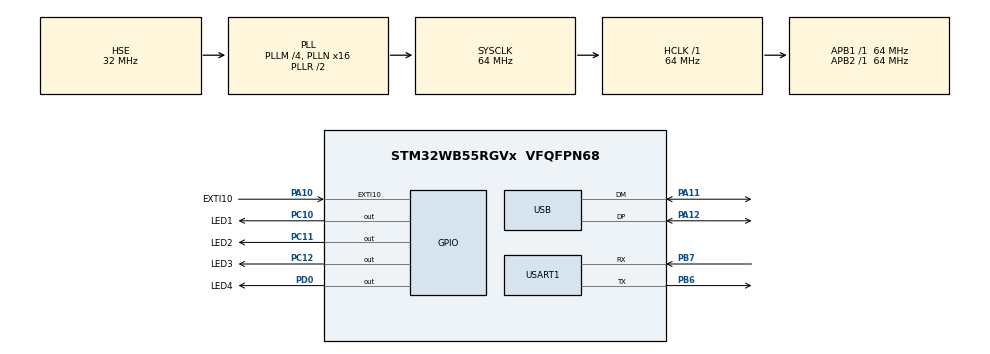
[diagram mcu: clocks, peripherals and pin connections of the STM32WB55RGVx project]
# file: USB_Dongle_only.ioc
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Dma.Request0=USART1_TX
Dma.USART1_TX.0.Direction=DMA_MEMORY_TO_PERIPH
Dma.USART1_TX.0.EventEnable=DISABLE
Dma.USART1_TX.0.Instance=DMA1_Channel1
Dma.USART1_TX.0.MemDataAlignment=DMA_MDATAALIGN_BYTE
Dma.USART1_TX.0.MemInc=DMA_MINC_ENABLE
Dma.USART1_TX.0.Mode=DMA_NORMAL
Dma.USART1_TX.0.PeriphDataAlignment=DMA_PDATAALIGN_BYTE
Dma.USART1_TX.0.PeriphInc=DMA_PINC_DISABLE
Dma.USART1_TX.0.Polarity=HAL_DMAMUX_REQ_GEN_RISING
Dma.USART1_TX.0.Priority=DMA_PRIORITY_LOW
Dma.USART1_TX.0.RequestNumber=1
Dma.USART1_TX.0.SignalID=NONE
Dma.USART1_TX.0.SyncEnable=DISABLE
Dma.USART1_TX.0.SyncPolarity=HAL_DMAMUX_SYNC_NO_EVENT
Dma.USART1_TX.0.SyncRequestNumber=1
Dma.USART1_TX.0.SyncSignalID=NONE
Mcu.Family=STM32WB
Mcu.Name=STM32WB55RGVx
Mcu.Package=VFQFPN68
NVIC.DMA1_Channel1_IRQn=true\:0\:0\:false\:false\:true\:false\:true\:true
NVIC.HSEM_IRQn=true\:0\:0\:false\:false\:true\:false\:true\:true
NVIC.IPCC_C1_RX_IRQn=true\:0\:0\:false\:false\:true\:true\:true\:true
NVIC.IPCC_C1_TX_IRQn=true\:0\:0\:false\:false\:true\:true\:true\:true
NVIC.PriorityGroup=NVIC_PRIORITYGROUP_4
NVIC.USB_LP_IRQn=true\:0\:0\:false\:false\:true\:false\:true\:true
OSC_IN.Mode=HSE-External-Oscillator
OSC_IN.Signal=RCC_OSC_IN
OSC_OUT.Mode=HSE-External-Oscillator
OSC_OUT.Signal=RCC_OSC_OUT
PA10.GPIO_Label=EXTI10
PA10.Signal=GPXTI10
PA11.Mode=Device
PA11.Signal=USB_DM
PA12.Mode=Device
PA12.Signal=USB_DP
PB6.Mode=Asynchronous
PB6.Signal=USART1_TX
PB7.Mode=Asynchronous
PB7.Signal=USART1_RX
PC10.GPIO_Label=LED1
PC10.Signal=GPIO_Output
PC11.GPIO_Label=LED2
PC11.Signal=GPIO_Output
PC12.GPIO_Label=LED3
PC12.Signal=GPIO_Output
PC14-OSC32_IN.Mode=LSE-External-Oscillator
PC14-OSC32_IN.Signal=RCC_OSC32_IN
PC15-OSC32_OUT.Mode=LSE-External-Oscillator
PC15-OSC32_OUT.Signal=RCC_OSC32_OUT
PD0.GPIO_Label=LED4
PD0.Signal=GPIO_Output
ProjectManager.HeapSize=0x200
ProjectManager.StackSize=0x400
ProjectManager.TargetToolchain=STM32CubeIDE
RCC.ADCFreq_Value=32000000
RCC.AHB2CLKDivider=RCC_SYSCLK_DIV2
RCC.AHBFreq_Value=64000000
RCC.APB1Freq_Value=64000000
RCC.APB1TimFreq_Value=64000000
RCC.APB2Freq_Value=64000000
RCC.APB2TimFreq_Value=64000000
RCC.APB3Freq_Value=16000000
RCC.CK48CLockSelection=RCC_USBCLKSOURCE_HSI48
RCC.CortexFreq_Value=64000000
RCC.HCLKFreq_Value=64000000
RCC.HSE_VALUE=32000000
RCC.HSI48_VALUE=48000000
RCC.HSI_VALUE=16000000
RCC.PLLM=RCC_PLLM_DIV4
RCC.PLLN=16
RCC.PLLSourceVirtual=RCC_PLLSOURCE_HSE
RCC.RCC_MCO1Source=RCC_MCO1SOURCE_HSE
RCC.RCC_MCODiv=RCC_MCODIV_2
RCC.SYSCLKFreq_VALUE=64000000
RCC.SYSCLKSource=RCC_SYSCLKSOURCE_PLLCLK
RCC.USBFreq_Value=48000000
RCC.VCOOutputFreq_Value=128000000
RF1.Mode=RF1_Activate
RF1.Signal=RF_RF1
USART1.VirtualMode-Asynchronous=VM_ASYNC
USB_DEVICE.CLASS_NAME_FS=CDC
USB_DEVICE.VirtualMode=Cdc
USB_DEVICE.VirtualModeFS=Cdc_FS
VP_AES1_VS_AES.Mode=AES_Activate
VP_HSEM_VS_HSEM.Mode=HSEM_Activate
VP_IPCC_VS_IPCC.Mode=IPCC_Activate
VP_RNG_VS_RNG.Mode=RNG_Activate
VP_RTC_VS_RTC_Activate.Mode=RTC_Enabled
VP_RTC_VS_RTC_WakeUp_intern.Mode=WakeUp
VP_USB_DEVICE_VS_USB_DEVICE_CDC_FS.Mode=CDC_FS
board=custom

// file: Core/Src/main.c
/* USER CODE BEGIN Header */
/**
  ******************************************************************************
  * @file           : main.c
  * @brief          : Main program body
  ******************************************************************************
  * @attention
  *
  * Copyright (c) 2023 STMicroelectronics.
  * All rights reserved.
  *
  * This software is licensed under terms that can be found in the LICENSE file
  * in the root directory of this software component.
  * If no LICENSE file comes with this software, it is provided AS-IS.
  *
  ******************************************************************************
  */
/* USER CODE END Header */
#include "main.h"
#include "usb_device.h"

/* USER CODE BEGIN Includes */
#include "usbd_cdc_if.h"

#include <stdlib.h>
#include <stdio.h>
#include <inttypes.h>
//#include <stdint.h>
//#include <string.h>
#include "fips202.h"
#include "params.h"
#include "sign.h"
#include "poly.h"
#include "polyvec.h"
#include "packing.h"

#include "usb_debug.h"

#include "elapsed_time.h"

#include "symmetric.h"

#include "const_y.h"

/* USER CODE END Includes */

/* USER CODE BEGIN PD */
#define MLEN 59
#define NTESTS 50
//#define KEYGEN_TEST
#define SIGN_VERIFY_TEST
//#define FULL_TEST
//#define AES_TEST
//#define STATIC_KEYS
//#define KEYGEN
#if defined(STATIC_KEYS)
#include "dilithium_keys.h"
#endif
/* USER CODE END PD */

//CRYP_HandleTypeDef hcryp1;
#ifdef HARDWARE_AES
__ALIGN_BEGIN static const uint32_t pKeyAES1[4] __ALIGN_END = {
                            0x00000000,0x00000000,0x00000000,0x00000000};
#endif

IPCC_HandleTypeDef hipcc;

RNG_HandleTypeDef hrng;

RTC_HandleTypeDef hrtc;

UART_HandleTypeDef huart1;
DMA_HandleTypeDef hdma_usart1_tx;

void SystemClock_Config(void);
void PeriphCommonClock_Config(void);
static void MX_GPIO_Init(void);
static void MX_DMA_Init(void);
static void MX_IPCC_Init(void);
static void MX_RF_Init(void);
static void MX_USART1_UART_Init(void);
static void MX_RTC_Init(void);
static void MX_RNG_Init(void);
#ifdef HARDWARE_AES
static void MX_AES1_Init(void);
#endif
/* USER CODE BEGIN PFP */
static int sign_verify_test_assert(int ret, int mlen, uint8_t ref_m[MLEN], uint8_t new_m[MLEN]);

#if defined(__ICCARM__)
/* New definition from EWARM V9, compatible with EWARM8 */
int iar_fputc(int ch);
#define PUTCHAR_PROTOTYPE int iar_fputc(int ch)
#define GETCHAR_PROTOTYPE int fgetc(FILE *f)
#elif defined (__CC_ARM) || defined(__ARMCC_VERSION)
/* ARM Compiler 5/6 */
#define PUTCHAR_PROTOTYPE int fputc(int ch, FILE *f)
#define GETCHAR_PROTOTYPE int fgetc(FILE *f)
#elif defined(__GNUC__)
int __io_putchar(int ch);
#define PUTCHAR_PROTOTYPE int __io_putchar(int ch)
int __io_getchar(void);
#define GETCHAR_PROTOTYPE int __io_getchar(void)
#endif /* __ICCARM__ */
/* USER CODE END PFP */

int main(void)
{

  /* MCU Configuration--------------------------------------------------------*/

  /* Reset of all peripherals, Initializes the Flash interface and the Systick. */
  HAL_Init();

  /* Configure the system clock */
  SystemClock_Config();

/* Configure the peripherals common clocks */
  PeriphCommonClock_Config();

  /* IPCC initialisation */
  MX_IPCC_Init();

  /* Initialize all configured peripherals */
  MX_GPIO_Init();
  MX_DMA_Init();
  MX_RF_Init();
  MX_USART1_UART_Init();
  MX_RTC_Init();
  MX_USB_Device_Init();
  MX_RNG_Init();
#ifdef HARDWARE_AES
  MX_AES1_Init();
#endif
  /* USER CODE BEGIN 2 */
  HAL_GPIO_TogglePin(LED4_GPIO_Port, LED4_Pin); // BLUE LED
  HAL_Delay(3000);
  USB_DEBUG_MSG("Program Compilation Date: %s %s\n", __DATE__, __TIME__);
  USB_DEBUG_MSG("Dilithium Signature Test Start\n");

  HAL_GPIO_TogglePin(LED4_GPIO_Port, LED4_Pin);
  HAL_GPIO_TogglePin(LED2_GPIO_Port, LED2_Pin);

#ifdef KEYGEN_TEST

  uint8_t pk[CRYPTO_PUBLICKEYBYTES];
  uint8_t sk[CRYPTO_SECRETKEYBYTES];

  elapsed_time_init();

#define TIME_STAMP_INDEX 0

  for (int i = 0; i < NTESTS; ++i) {
	  //
	  USB_DEBUG_MSG("Test %d\r\n", i);

	  elapsed_time_start(TIME_STAMP_INDEX);

	  crypto_sign_keypair(&hrng, pk, sk);

	  elapsed_time_stop(TIME_STAMP_INDEX);

	  USB_DEBUG_MSG("Cycles for keys generation max = %ld\r\n", elapsed_time_max(TIME_STAMP_INDEX));
	  USB_DEBUG_MSG("Cycles for keys generation min = %ld\r\n", elapsed_time_min(TIME_STAMP_INDEX));

	  elapsed_time_clr(TIME_STAMP_INDEX);
  }
  USB_DEBUG_MSG("CRYPTO_PUBLICKEYBYTES = %d\r\n", CRYPTO_PUBLICKEYBYTES);
  USB_DEBUG_MSG("CRYPTO_SECRETKEYBYTES = %d\r\n", CRYPTO_SECRETKEYBYTES);
  USB_DEBUG_MSG("CRYPTO_BYTES = %d\r\n", CRYPTO_BYTES);

#elif defined SIGN_VERIFY_TEST

  unsigned int i;
  int ret;
  size_t mlen, smlen;
  uint8_t m[MLEN] = { 0x55 };
  uint8_t sm[MLEN + CRYPTO_BYTES];
  uint8_t m2[MLEN + CRYPTO_BYTES];
  uint8_t test_ok = 1;
  uint8_t pk[CRYPTO_PUBLICKEYBYTES];
  uint8_t sk[CRYPTO_SECRETKEYBYTES];

#define TIME_STAMP_SIGN 0
#define TIME_STAMP_VERF 1
#define TIME_STAMP_INDEX 2

  elapsed_time_init();

  for (i = 0; i < NTESTS; ++i) {
	  //
	  USB_DEBUG_MSG("Test %d\r\n", i);

	  elapsed_time_start(TIME_STAMP_INDEX);

	  crypto_sign_keypair(&hrng, pk, sk);

	  elapsed_time_stop(TIME_STAMP_INDEX);

	  elapsed_time_start(TIME_STAMP_SIGN );

	  int nonce = crypto_sign(&hrng, sm, &smlen, m, MLEN, sk);

	  elapsed_time_stop(TIME_STAMP_SIGN );

	  USB_DEBUG_MSG("nonce = %d\r\n", nonce);
//#define CONST_Y_NUM 15
	  if(nonce <= CONST_Y_NUM)
	  {
		  elapsed_time_start(TIME_STAMP_VERF);

		  ret = crypto_sign_open(m2, &mlen, sm, smlen, pk);

		  elapsed_time_stop(TIME_STAMP_VERF);
	  }

	  if(sign_verify_test_assert(ret, mlen, m, m2)){
		  test_ok = 0;
		  break;
	  }

	  USB_DEBUG_MSG("Cycles for keys generation max = %ld\r\n", elapsed_time_max(TIME_STAMP_INDEX));
	  USB_DEBUG_MSG("Cycles for keys generation min = %ld\r\n", elapsed_time_min(TIME_STAMP_INDEX));
	  USB_DEBUG_MSG("Cycles for full signature generation max = %ld\r\n", elapsed_time_max(TIME_STAMP_SIGN));
	  USB_DEBUG_MSG("Cycles for full signature generation min = %ld\r\n", elapsed_time_min(TIME_STAMP_SIGN));
	  USB_DEBUG_MSG("Cycles for full signature verification max = %ld\r\n", elapsed_time_max(TIME_STAMP_VERF));
	  USB_DEBUG_MSG("Cycles for full signature verification min = %ld\r\n", elapsed_time_min(TIME_STAMP_VERF));

	  elapsed_time_clr(TIME_STAMP_INDEX);
	  elapsed_time_clr(TIME_STAMP_SIGN);
	  elapsed_time_clr(TIME_STAMP_VERF);

  }

  if (test_ok){
	  HAL_GPIO_TogglePin(LED3_GPIO_Port, LED3_Pin); // GREEN LED
	  USB_DEBUG_MSG("New Dilithium - OK\r\n");
  }
  else {
	  USB_DEBUG_MSG("New Dilithium - err_code = %d\r\n", ret);
  }

  USB_DEBUG_MSG("CRYPTO_PUBLICKEYBYTES = %d\r\n", CRYPTO_PUBLICKEYBYTES);
  USB_DEBUG_MSG("CRYPTO_SECRETKEYBYTES = %d\r\n", CRYPTO_SECRETKEYBYTES);
  USB_DEBUG_MSG("CRYPTO_BYTES = %d\r\n", CRYPTO_BYTES);

#elif defined FULL_TEST
  unsigned int i, j;
  int ret;
  size_t mlen, smlen;
  uint8_t m[MLEN] = { 0x55 };
  uint8_t sm[MLEN + CRYPTO_BYTES];
  uint8_t m2[MLEN + CRYPTO_BYTES];
  uint8_t test_ok = 1;
  uint8_t pk[CRYPTO_PUBLICKEYBYTES];
  uint8_t sk[CRYPTO_SECRETKEYBYTES];

  for (i = 0; i < NTESTS; ++i) {
	  //
	  USB_DEBUG_MSG("Test %d\r\n", i);

	  crypto_sign_keypair(&hrng, pk, sk);
	  crypto_sign(&hrng, sm, &smlen, m, MLEN, sk);
	  ret = crypto_sign_open(m2, &mlen, sm, smlen, pk);

	  if(sign_verify_test_assert(ret, mlen, m, m2)){
		  test_ok = 0;
		  break;
	  }

  }

  if (test_ok){
	  HAL_GPIO_TogglePin(LED3_GPIO_Port, LED3_Pin); // GREEN LED
	  USB_DEBUG_MSG("New Dilithium - OK\r\n");
  }
  else {
	  USB_DEBUG_MSG("New Dilithium - err_code = %d\r\n", ret);
  }

#endif

#ifdef TIME_BENCHMARK
  USB_DEBUG_MSG("TIME BENCHMARK FOR %d TESTS\r\n",NTESTS);
#if defined(STATIC_KEYS) || defined(SIGN_VERIFY_TEST)
  USB_DEBUG_MSG("Cycles for keygen t = A*s1+s2 max = %ld\r\n", elapsed_time_max(KEYS_SMUL_TIMESTAMP));
  USB_DEBUG_MSG("Cycles for keygen t = A*s1+s2 min = %ld\r\n", elapsed_time_min(KEYS_SMUL_TIMESTAMP));
#else
  USB_DEBUG_MSG("PREINSTALLED KEYS USED\r\n");
#endif
  USB_DEBUG_MSG("Cycles for sign   w = Ay      max = %ld\r\n", elapsed_time_max(SIGN_YMUL_TIMESTAMP));
  USB_DEBUG_MSG("Cycles for sign   w = Ay      min = %ld\r\n", elapsed_time_min(SIGN_YMUL_TIMESTAMP));
  USB_DEBUG_MSG("Cycles for sign   z = y+c*s1  max = %ld\r\n", elapsed_time_max(SIGN_Z_COMPUTE_TIMESTAMP));
  USB_DEBUG_MSG("Cycles for sign   z = y+c*s1  min = %ld\r\n", elapsed_time_min(SIGN_Z_COMPUTE_TIMESTAMP));
  USB_DEBUG_MSG("Cycles for sign   h0 = c*s2   max = %ld\r\n", elapsed_time_max(SIGN_H_COMPUTE_TIMESTAMP));
  USB_DEBUG_MSG("Cycles for sign   h0 = c*s2   min = %ld\r\n", elapsed_time_min(SIGN_H_COMPUTE_TIMESTAMP));
  USB_DEBUG_MSG("Cycles for verify w1 = Usehint(Az-c*t1*2^d) max = %ld\r\n", elapsed_time_max(VERIFY_RECONSTRUC_W1_TIMESTAMP));
  USB_DEBUG_MSG("Cycles for verify w1 = Usehint(Az-c*t1*2^d) min = %ld\r\n", elapsed_time_min(VERIFY_RECONSTRUC_W1_TIMESTAMP));
#endif

#ifdef AES_TEST
#define POLY_UNIFORM_NBLOCKS ((768 + STREAM128_BLOCKBYTES - 1)/STREAM128_BLOCKBYTES)
  uint8_t buf[POLY_UNIFORM_NBLOCKS*STREAM128_BLOCKBYTES + 2] = {0};
  stream128_state state;
  uint8_t seed[32] = {0x55};
  int nonce = 0;

  poly a;

  for(int i = 0; i < NTESTS; i++, nonce++){
	  //randombytes(&hrng, seed, 32);
	  USB_DEBUG_MSG("\r\nTETS %d\r\n", i);

	  USB_DEBUG_MSG(" first\r\n");
	  USB_DEBUG_MSG(" seed =");
	  for(int j = 0; j < 32; j++){
		  USB_DEBUG_MSG("%d ", seed[j]);
	  }
	  USB_DEBUG_MSG("\r\n");

	  poly_uniform(&a, seed, 1);

	  //for(int k = 0; k < K; k++){
		  //for(int l = 0; l < L; l++){
			  USB_DEBUG_MSG("a = ");
			  for(int j = 0; j < N_; j++){
				  USB_DEBUG_MSG("%ld", a.coeffs[j]);
			  }
			  USB_DEBUG_MSG("\r\n");
		  //}
		  //USB_DEBUG_MSG("\r\n");
	  //}

	  USB_DEBUG_MSG("\r\n second\r\n");
	  USB_DEBUG_MSG(" seed =");
	  for(int j = 0; j < 32; j++){
		  USB_DEBUG_MSG("%d ", seed[j]);
	  }
	  USB_DEBUG_MSG("\r\n");

	  poly_uniform(&a, seed, 1);

	  //for(int k = 0; k < K; k++){
		  //for(int l = 0; l < L; l++){
			  USB_DEBUG_MSG("a = ");
			  for(int j = 0; j < N_; j++){
				  USB_DEBUG_MSG("%ld", a.coeffs[j]);
			  }
			  USB_DEBUG_MSG("\r\n");
		  //}
		  //USB_DEBUG_MSG("\r\n");
	  //}
  }

#endif

#ifdef KEYGEN
  uint8_t pk[CRYPTO_PUBLICKEYBYTES];
  uint8_t sk[CRYPTO_SECRETKEYBYTES];

  crypto_sign_keypair(&hrng, pk, sk);

  USB_DEBUG_MSG("\r\nPublic key:\r\n");
  for (int i = 0; i < sizeof(pk); i+=8) {
	  USB_DEBUG_MSG("0x%02x, 0x%02x, 0x%02x, 0x%02x, 0x%02x, 0x%02x, 0x%02x, 0x%02x,\r\n", pk[i+0], pk[i+1], pk[i+2],pk[i+3],pk[i+4],pk[i+5],pk[i+6],pk[i+7]);
  }

  USB_DEBUG_MSG("\r\nSecret key:\r\n");
  for (int i = 0; i < sizeof(sk); i+=8) {
	  USB_DEBUG_MSG("0x%02x, 0x%02x, 0x%02x, 0x%02x, 0x%02x, 0x%02x, 0x%02x, 0x%02x,\r\n", sk[i+0], sk[i+1], sk[i+2],sk[i+3],sk[i+4],sk[i+5],sk[i+6],sk[i+7]);
  }

#endif

  /* USER CODE END 2 */

  /* Infinite loop */
  /* USER CODE BEGIN WHILE */

  while (1)
  {
	  HAL_Delay(1000);
	  HAL_GPIO_TogglePin(LED2_GPIO_Port, LED2_Pin); // YELLOW LED
    /* USER CODE END WHILE */

    /* USER CODE BEGIN 3 */
	  //printf("printf msg\r\n");
  }
  /* USER CODE END 3 */
}

void SystemClock_Config(void)
{
  RCC_OscInitTypeDef RCC_OscInitStruct = {0};
  RCC_ClkInitTypeDef RCC_ClkInitStruct = {0};

  /** Configure the main internal regulator output voltage
  */
  __HAL_PWR_VOLTAGESCALING_CONFIG(PWR_REGULATOR_VOLTAGE_SCALE1);

  /** Initializes the RCC Oscillators according to the specified parameters
  * in the RCC_OscInitTypeDef structure.
  */
  RCC_OscInitStruct.OscillatorType = RCC_OSCILLATORTYPE_HSI48|RCC_OSCILLATORTYPE_HSI
                              |RCC_OSCILLATORTYPE_LSI1|RCC_OSCILLATORTYPE_HSE;
  RCC_OscInitStruct.HSEState = RCC_HSE_ON;
  RCC_OscInitStruct.HSIState = RCC_HSI_ON;
  RCC_OscInitStruct.HSI48State = RCC_HSI48_ON;
  RCC_OscInitStruct.HSICalibrationValue = RCC_HSICALIBRATION_DEFAULT;
  RCC_OscInitStruct.LSIState = RCC_LSI_ON;
  RCC_OscInitStruct.PLL.PLLState = RCC_PLL_ON;
  RCC_OscInitStruct.PLL.PLLSource = RCC_PLLSOURCE_HSE;
  RCC_OscInitStruct.PLL.PLLM = RCC_PLLM_DIV4;
  RCC_OscInitStruct.PLL.PLLN = 16;
  RCC_OscInitStruct.PLL.PLLP = RCC_PLLP_DIV2;
  RCC_OscInitStruct.PLL.PLLR = RCC_PLLR_DIV2;
  RCC_OscInitStruct.PLL.PLLQ = RCC_PLLQ_DIV2;
  if (HAL_RCC_OscConfig(&RCC_OscInitStruct) != HAL_OK)
  {
    Error_Handler();
  }

  /** Configure the SYSCLKSource, HCLK, PCLK1 and PCLK2 clocks dividers
  */
  RCC_ClkInitStruct.ClockType = RCC_CLOCKTYPE_HCLK4|RCC_CLOCKTYPE_HCLK2
                              |RCC_CLOCKTYPE_HCLK|RCC_CLOCKTYPE_SYSCLK
                              |RCC_CLOCKTYPE_PCLK1|RCC_CLOCKTYPE_PCLK2;
  RCC_ClkInitStruct.SYSCLKSource = RCC_SYSCLKSOURCE_PLLCLK;
  RCC_ClkInitStruct.AHBCLKDivider = RCC_SYSCLK_DIV1;
  RCC_ClkInitStruct.APB1CLKDivider = RCC_HCLK_DIV1;
  RCC_ClkInitStruct.APB2CLKDivider = RCC_HCLK_DIV1;
  RCC_ClkInitStruct.AHBCLK2Divider = RCC_SYSCLK_DIV2;
  RCC_ClkInitStruct.AHBCLK4Divider = RCC_SYSCLK_DIV1;

  if (HAL_RCC_ClockConfig(&RCC_ClkInitStruct, FLASH_LATENCY_3) != HAL_OK)
  {
    Error_Handler();
  }
}

void PeriphCommonClock_Config(void)
{
  RCC_PeriphCLKInitTypeDef PeriphClkInitStruct = {0};

  /** Initializes the peripherals clock
  */
  PeriphClkInitStruct.PeriphClockSelection = RCC_PERIPHCLK_SMPS|RCC_PERIPHCLK_RFWAKEUP;
  PeriphClkInitStruct.RFWakeUpClockSelection = RCC_RFWKPCLKSOURCE_HSE_DIV1024;
  PeriphClkInitStruct.SmpsClockSelection = RCC_SMPSCLKSOURCE_HSI;
  PeriphClkInitStruct.SmpsDivSelection = RCC_SMPSCLKDIV_RANGE1;

  if (HAL_RCCEx_PeriphCLKConfig(&PeriphClkInitStruct) != HAL_OK)
  {
    Error_Handler();
  }
}

#ifdef HARDWARE_AES
static void MX_AES1_Init(void)
{

	hcryp_state.Instance = AES1;
	hcryp_state.Init.DataType = CRYP_DATATYPE_32B;
	hcryp_state.Init.KeySize = CRYP_KEYSIZE_128B;
	hcryp_state.Init.pKey = (uint32_t *)pKeyAES1;
	hcryp_state.Init.Algorithm = CRYP_AES_ECB;
	hcryp_state.Init.DataWidthUnit = CRYP_DATAWIDTHUNIT_WORD;
	hcryp_state.Init.KeyIVConfigSkip = CRYP_KEYIVCONFIG_ALWAYS;
  if (HAL_CRYP_Init(&hcryp_state) != HAL_OK)
  {
    Error_Handler();
  }

}
#endif

static void MX_IPCC_Init(void)
{

  hipcc.Instance = IPCC;
  if (HAL_IPCC_Init(&hipcc) != HAL_OK)
  {
    Error_Handler();
  }

}

static void MX_RF_Init(void)
{

}

static void MX_RNG_Init(void)
{

  hrng.Instance = RNG;
  hrng.Init.ClockErrorDetection = RNG_CED_ENABLE;
  if (HAL_RNG_Init(&hrng) != HAL_OK)
  {
    Error_Handler();
  }

}

static void MX_RTC_Init(void)
{

  /** Initialize RTC Only
  */
  hrtc.Instance = RTC;
  hrtc.Init.HourFormat = RTC_HOURFORMAT_24;
  hrtc.Init.AsynchPrediv = 127;
  hrtc.Init.SynchPrediv = 255;
  hrtc.Init.OutPut = RTC_OUTPUT_DISABLE;
  hrtc.Init.OutPutPolarity = RTC_OUTPUT_POLARITY_HIGH;
  hrtc.Init.OutPutType = RTC_OUTPUT_TYPE_OPENDRAIN;
  hrtc.Init.OutPutRemap = RTC_OUTPUT_REMAP_NONE;
  if (HAL_RTC_Init(&hrtc) != HAL_OK)
  {
    Error_Handler();
  }

  /** Enable the WakeUp
  */
  if (HAL_RTCEx_SetWakeUpTimer(&hrtc, 0, RTC_WAKEUPCLOCK_RTCCLK_DIV16) != HAL_OK)
  {
    Error_Handler();
  }

}

static void MX_USART1_UART_Init(void)
{

  huart1.Instance = USART1;
  huart1.Init.BaudRate = 115200;
  huart1.Init.WordLength = UART_WORDLENGTH_8B;
  huart1.Init.StopBits = UART_STOPBITS_1;
  huart1.Init.Parity = UART_PARITY_NONE;
  huart1.Init.Mode = UART_MODE_TX_RX;
  huart1.Init.HwFlowCtl = UART_HWCONTROL_NONE;
  huart1.Init.OverSampling = UART_OVERSAMPLING_16;
  huart1.Init.OneBitSampling = UART_ONE_BIT_SAMPLE_DISABLE;
  huart1.Init.ClockPrescaler = UART_PRESCALER_DIV1;
  huart1.AdvancedInit.AdvFeatureInit = UART_ADVFEATURE_NO_INIT;
  if (HAL_UART_Init(&huart1) != HAL_OK)
  {
    Error_Handler();
  }
  if (HAL_UARTEx_SetTxFifoThreshold(&huart1, UART_TXFIFO_THRESHOLD_1_8) != HAL_OK)
  {
    Error_Handler();
  }
  if (HAL_UARTEx_SetRxFifoThreshold(&huart1, UART_RXFIFO_THRESHOLD_1_8) != HAL_OK)
  {
    Error_Handler();
  }
  if (HAL_UARTEx_DisableFifoMode(&huart1) != HAL_OK)
  {
    Error_Handler();
  }

}

static void MX_DMA_Init(void)
{

  /* DMA controller clock enable */
  __HAL_RCC_DMAMUX1_CLK_ENABLE();
  __HAL_RCC_DMA1_CLK_ENABLE();

  /* DMA interrupt init */
  /* DMA1_Channel1_IRQn interrupt configuration */
  HAL_NVIC_SetPriority(DMA1_Channel1_IRQn, 0, 0);
  HAL_NVIC_EnableIRQ(DMA1_Channel1_IRQn);

}

static void MX_GPIO_Init(void)
{
  GPIO_InitTypeDef GPIO_InitStruct = {0};

  /* GPIO Ports Clock Enable */
  __HAL_RCC_GPIOC_CLK_ENABLE();
  __HAL_RCC_GPIOA_CLK_ENABLE();
  __HAL_RCC_GPIOD_CLK_ENABLE();
  __HAL_RCC_GPIOB_CLK_ENABLE();

  /*Configure GPIO pin Output Level */
  HAL_GPIO_WritePin(GPIOC, LED1_Pin|LED2_Pin|LED3_Pin, GPIO_PIN_RESET);

  /*Configure GPIO pin Output Level */
  HAL_GPIO_WritePin(LED4_GPIO_Port, LED4_Pin, GPIO_PIN_RESET);

  /*Configure GPIO pin : EXTI10_Pin */
  GPIO_InitStruct.Pin = EXTI10_Pin;
  GPIO_InitStruct.Mode = GPIO_MODE_IT_RISING;
  GPIO_InitStruct.Pull = GPIO_NOPULL;
  HAL_GPIO_Init(EXTI10_GPIO_Port, &GPIO_InitStruct);

  /*Configure GPIO pins : LED1_Pin LED2_Pin LED3_Pin */
  GPIO_InitStruct.Pin = LED1_Pin|LED2_Pin|LED3_Pin;
  GPIO_InitStruct.Mode = GPIO_MODE_OUTPUT_PP;
  GPIO_InitStruct.Pull = GPIO_NOPULL;
  GPIO_InitStruct.Speed = GPIO_SPEED_FREQ_LOW;
  HAL_GPIO_Init(GPIOC, &GPIO_InitStruct);

  /*Configure GPIO pin : LED4_Pin */
  GPIO_InitStruct.Pin = LED4_Pin;
  GPIO_InitStruct.Mode = GPIO_MODE_OUTPUT_PP;
  GPIO_InitStruct.Pull = GPIO_NOPULL;
  GPIO_InitStruct.Speed = GPIO_SPEED_FREQ_LOW;
  HAL_GPIO_Init(LED4_GPIO_Port, &GPIO_InitStruct);

}

/* USER CODE BEGIN 4 */
static int sign_verify_test_assert(int ret, int mlen, uint8_t ref_m[MLEN], uint8_t new_m[MLEN]){
	  if (ret) {
	 		  USB_DEBUG_MSG("Verification failed - err_code = %d\r\n", ret);
	 		  HAL_GPIO_WritePin(LED1_GPIO_Port, LED1_Pin, GPIO_PIN_SET); // RED LED
	 		 return 1;
	 }

	  if (mlen != MLEN) {
		  USB_DEBUG_MSG("Message lengths don't match\r\n");
		  HAL_GPIO_WritePin(LED1_GPIO_Port, LED1_Pin, GPIO_PIN_SET); // RED LED
		  return 1;
	  }

	  for (int j = 0; j < mlen; ++j) {
		  if (ref_m[j] != new_m[j]) {
			  USB_DEBUG_MSG("Messages don't match\r\n");
			  HAL_GPIO_WritePin(LED1_GPIO_Port, LED1_Pin, GPIO_PIN_SET); // RED LED
			  return 1;
		  }
	  }
	  return 0;
}

/**
  * @brief  Retargets the C library printf function to the USART.
  * @param  None
  * @retval None
  */
PUTCHAR_PROTOTYPE
{
  /* Place your implementation of fputc here */
  /* e.g. write a character to the USART1 and Loop until the end of transmission */
  HAL_UART_Transmit(&huart1, (uint8_t *)&ch, 1, 0xFFFF);

  return ch;
}

GETCHAR_PROTOTYPE
{
  uint8_t ch = 0;
  /* Place your implementation of fgetc here */

  /* Clear the Overrun flag just before receiving the first character */
  __HAL_UART_CLEAR_OREFLAG(&huart1);

  /* Wait for reception of a character on the USART1 RX line
     and echo this character on console */
  HAL_UART_Receive(&huart1, (uint8_t *)&ch, 1, 0xFFFF);
  HAL_UART_Transmit(&huart1, (uint8_t *)&ch, 1, 0xFFFF);
  return ch;
}
/* USER CODE END 4 */

void Error_Handler(void)
{
  /* USER CODE BEGIN Error_Handler_Debug */
  /* User can add his own implementation to report the HAL error return state */
  __disable_irq();
  while (1)
  {
	  HAL_GPIO_TogglePin(LED1_GPIO_Port, LED1_Pin);
	  HAL_GPIO_TogglePin(LED2_GPIO_Port, LED2_Pin);
	  HAL_GPIO_TogglePin(LED3_GPIO_Port, LED3_Pin);
	  HAL_GPIO_TogglePin(LED4_GPIO_Port, LED4_Pin);
	  HAL_Delay(500);
  }
  /* USER CODE END Error_Handler_Debug */
}
